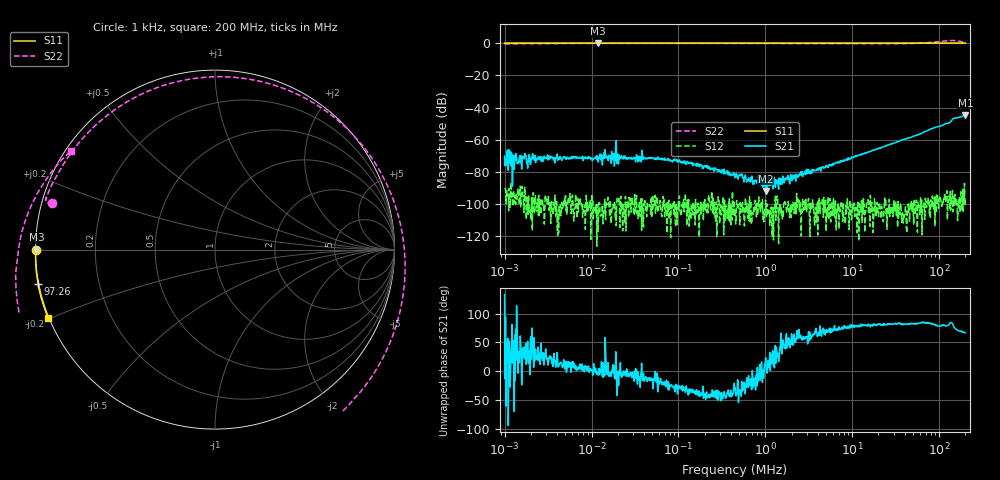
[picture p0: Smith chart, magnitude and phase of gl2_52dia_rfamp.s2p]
! ListType=Log
# MHZ S RI R 50
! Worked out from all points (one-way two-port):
!   1000 points, 1 kHz to 200 MHz, reference 50 ohm
!   highest |S21| = -44.56 dB at 200 MHz (marker M1); lowest = -91.8 dB at 1.008 MHz (marker M2)
!   lowest |S11| = 0.0 dB at 11.95 kHz (marker M3), VSWR 436.63, Z = 0.115 + j0.01 ohm
!   |S11| at or under -10 dB: nowhere
!   |S22| runs from -0.5 to 1.7 dB; largest |S21 - S12| = 0.0059
!   S11 on the Smith chart (normalised r, x): 1 kHz: 0.00, -0.00; 97.26 MHz: -0.00, -0.10; 200 MHz: -0.00, -0.20
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0.001  -0.9982 -0.000345  -0.000214 0.000228  -1.15e-05 -2.99e-05  -0.9089 0.26
0.0014784  -0.9983 0.000114  0.000268 7e-05  -4.9e-06 8.2e-06  -0.9179 0.2569
0.0016911  -0.9979 2.88e-05  0.000307 0.000123  -2.1e-05 -1.59e-05  -0.9218 0.2571
0.0018877  -0.9983 -0.000181  0.000277 6.6e-05  -1.05e-05 -1.58e-05  -0.924 0.2577
0.0076941  -0.9985 -2.1e-06  0.000275 1.09e-05  -2.1e-06 8.4e-06  -0.9422 0.2759
0.011945  -0.9954 0.0004  0.000203 -2.33e-05  -1.2e-06 6e-07  -0.9435 0.2782
0.0180968  -0.9984 -0.000128  0.000374 6.47e-05  -8.6e-06 -3.5e-06  -0.9424 0.2828
0.0584804  -0.9983 -0.000174  0.000289 -5.35e-05  1.1e-06 -7.5e-06  -0.9406 0.2882
0.4499541  -0.9986 -0.00115  6.08e-05 -3.25e-05  1.8e-06 7.1e-06  -0.9349 0.303
1.007828  -0.9987 -0.00242  2.37e-05 1.03e-05  1.07e-05 -7.9e-06  -0.9266 0.3221
3.419952  -0.999 -0.00748  4.22e-05 8.1e-05  -1.8e-06 -7.2e-06  -0.8867 0.4028
12.03851  -0.9994 -0.0254  7.43e-05 0.000327  -7.5e-06 -3e-07  -0.7122 0.6466
26.31347  -0.9994 -0.0541  9.57e-05 0.000697  3.6e-06 -3.5e-06  -0.3118 0.9064
40.85134  -0.9983 -0.0831  0.000152 0.00105  -9e-07 -8.3e-06  0.1693 0.9527
55.44529  -0.9963 -0.1119  0.000186 0.00139  -3.1e-06 3.6e-06  0.6248 0.7668
77.11445  -0.9916 -0.1544  0.000234 0.00205  -2.6e-06 -4.5e-06  1.031 0.1486
97.2649  -0.9853 -0.1934  0.000515 0.00254  -4e-07 -1.04e-05  0.9559 -0.561
119.7192  -0.9766 -0.236  0.0006 0.0031  -1.47e-05 -6e-07  0.363 -1.12
138.6245  -0.9673 -0.2714  0.000376 0.00397  -9.6e-06 -2.3e-06  -0.333 -1.159
152.8589  -0.9599 -0.2976  0.00127 0.00455  -1.3e-06 -9.2e-06  -0.7884 -0.9024
168.5549  -0.9505 -0.3258  0.00169 0.00465  -1.07e-05 1.6e-06  -1.076 -0.4214
200  -0.9286 -0.3815  0.00233 0.00544  -1.29e-05 -6.6e-06  -0.8026 0.5506
